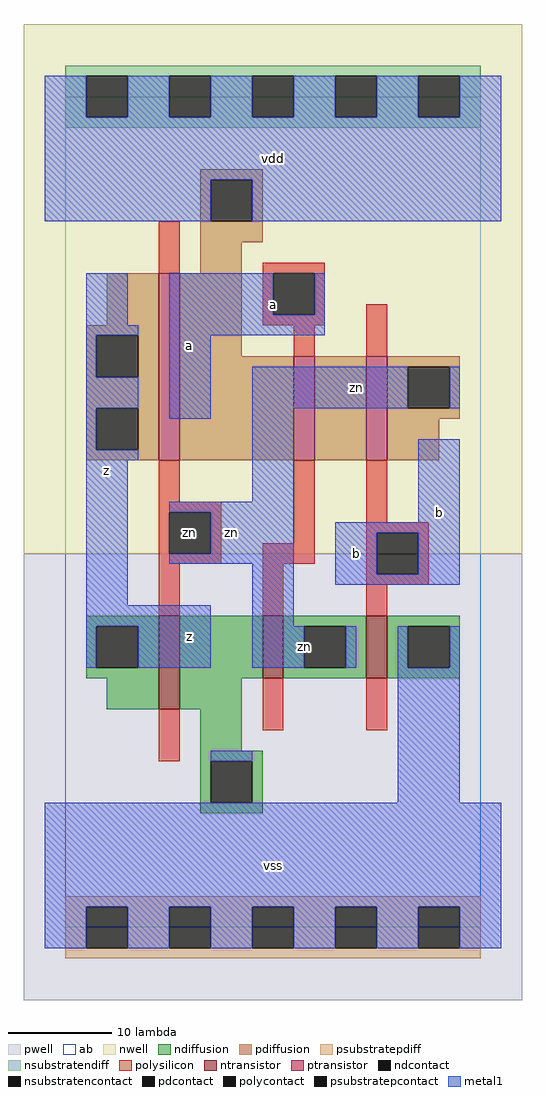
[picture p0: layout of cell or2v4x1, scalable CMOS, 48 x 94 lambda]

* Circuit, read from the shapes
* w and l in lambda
.subckt or2v4x1 a b vdd vss z zn
M1 vss zn z vss nfet w=9 l=2
M2 zn a vss vss nfet w=6 l=2
M3 vss b zn vss nfet w=6 l=2
M4 vdd zn z vdd pfet w=18 l=2
M5 n1 a vdd vdd pfet w=10 l=2
M6 zn b n1 vdd pfet w=10 l=2
.ends

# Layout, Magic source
magic
tech scmos
<< ab >>
rect 0 0 40 80
<< pwell >>
rect -4 -7 44 36
<< nwell >>
rect -4 36 44 87
<< polysilicon >>
rect 9 63 11 68
rect 19 63 25 64
rect 19 59 20 63
rect 24 59 25 63
rect 19 58 25 59
rect 22 55 24 58
rect 29 55 31 60
rect 9 41 11 45
rect 9 40 15 41
rect 9 36 10 40
rect 14 36 15 40
rect 22 37 24 45
rect 9 35 15 36
rect 19 35 24 37
rect 29 39 31 45
rect 29 38 35 39
rect 9 30 11 35
rect 19 30 21 35
rect 29 34 30 38
rect 34 34 35 38
rect 29 33 35 34
rect 29 30 31 33
rect 9 16 11 21
rect 19 19 21 24
rect 29 19 31 24
<< ndiffusion >>
rect 2 29 9 30
rect 2 25 3 29
rect 7 25 9 29
rect 2 24 9 25
rect 4 21 9 24
rect 11 24 19 30
rect 21 29 29 30
rect 21 25 23 29
rect 27 25 29 29
rect 21 24 29 25
rect 31 29 38 30
rect 31 25 33 29
rect 37 25 38 29
rect 31 24 38 25
rect 11 21 17 24
rect 13 17 17 21
rect 13 16 19 17
rect 13 12 14 16
rect 18 12 19 16
rect 13 11 19 12
<< pdiffusion >>
rect 13 72 19 73
rect 13 68 14 72
rect 18 68 19 72
rect 13 66 19 68
rect 13 63 17 66
rect 4 58 9 63
rect 2 57 9 58
rect 2 53 3 57
rect 7 53 9 57
rect 2 50 9 53
rect 2 46 3 50
rect 7 46 9 50
rect 2 45 9 46
rect 11 55 17 63
rect 11 45 22 55
rect 24 45 29 55
rect 31 54 38 55
rect 31 50 33 54
rect 37 50 38 54
rect 31 49 38 50
rect 31 45 36 49
<< metal1 >>
rect -2 78 2 82
rect 6 78 10 82
rect 14 78 18 82
rect 22 78 26 82
rect 30 78 34 82
rect 38 78 42 82
rect -2 72 42 78
rect -2 68 14 72
rect 18 68 42 72
rect 2 58 6 63
rect 10 59 20 63
rect 24 59 25 63
rect 2 57 7 58
rect 2 53 3 57
rect 2 50 7 53
rect 2 46 3 50
rect 10 57 25 59
rect 10 49 14 57
rect 18 50 33 54
rect 37 50 38 54
rect 2 45 7 46
rect 2 31 6 45
rect 18 41 22 50
rect 10 40 22 41
rect 14 36 22 40
rect 34 39 38 47
rect 10 35 22 36
rect 2 29 14 31
rect 2 25 3 29
rect 7 25 14 29
rect 18 29 22 35
rect 26 38 38 39
rect 26 34 30 38
rect 34 34 38 38
rect 26 33 38 34
rect 18 25 23 29
rect 27 25 28 29
rect 32 25 33 29
rect 37 25 38 29
rect 14 16 18 17
rect 32 12 38 25
rect -2 2 42 12
rect -2 -2 2 2
rect 6 -2 10 2
rect 14 -2 18 2
rect 22 -2 26 2
rect 30 -2 34 2
rect 38 -2 42 2
<< ntransistor >>
rect 9 21 11 30
rect 19 24 21 30
rect 29 24 31 30
<< ptransistor >>
rect 9 45 11 63
rect 22 45 24 55
rect 29 45 31 55
<< polycontact >>
rect 20 59 24 63
rect 10 36 14 40
rect 30 34 34 38
<< ndcontact >>
rect 3 25 7 29
rect 23 25 27 29
rect 33 25 37 29
rect 14 12 18 16
<< pdcontact >>
rect 14 68 18 72
rect 3 53 7 57
rect 3 46 7 50
rect 33 50 37 54
<< psubstratepcontact >>
rect 2 -2 6 2
rect 10 -2 14 2
rect 18 -2 22 2
rect 26 -2 30 2
rect 34 -2 38 2
<< nsubstratencontact >>
rect 2 78 6 82
rect 10 78 14 82
rect 18 78 22 82
rect 26 78 30 82
rect 34 78 38 82
<< psubstratepdiff >>
rect 0 2 40 3
rect 0 -2 2 2
rect 6 -2 10 2
rect 14 -2 18 2
rect 22 -2 26 2
rect 30 -2 34 2
rect 38 -2 40 2
rect 0 -3 40 -2
<< nsubstratendiff >>
rect 0 82 40 83
rect 0 78 2 82
rect 6 78 10 82
rect 14 78 18 82
rect 22 78 26 82
rect 30 78 34 82
rect 38 78 40 82
rect 0 77 40 78
<< labels >>
rlabel polycontact 12 38 12 38 6 zn
rlabel metal1 4 44 4 44 6 z
rlabel metal1 12 28 12 28 6 z
rlabel metal1 12 56 12 56 6 a
rlabel metal1 20 6 20 6 6 vss
rlabel metal1 23 27 23 27 6 zn
rlabel metal1 28 36 28 36 6 b
rlabel metal1 16 38 16 38 6 zn
rlabel metal1 20 60 20 60 6 a
rlabel metal1 20 74 20 74 6 vdd
rlabel metal1 36 40 36 40 6 b
rlabel metal1 28 52 28 52 6 zn
<< end >>
